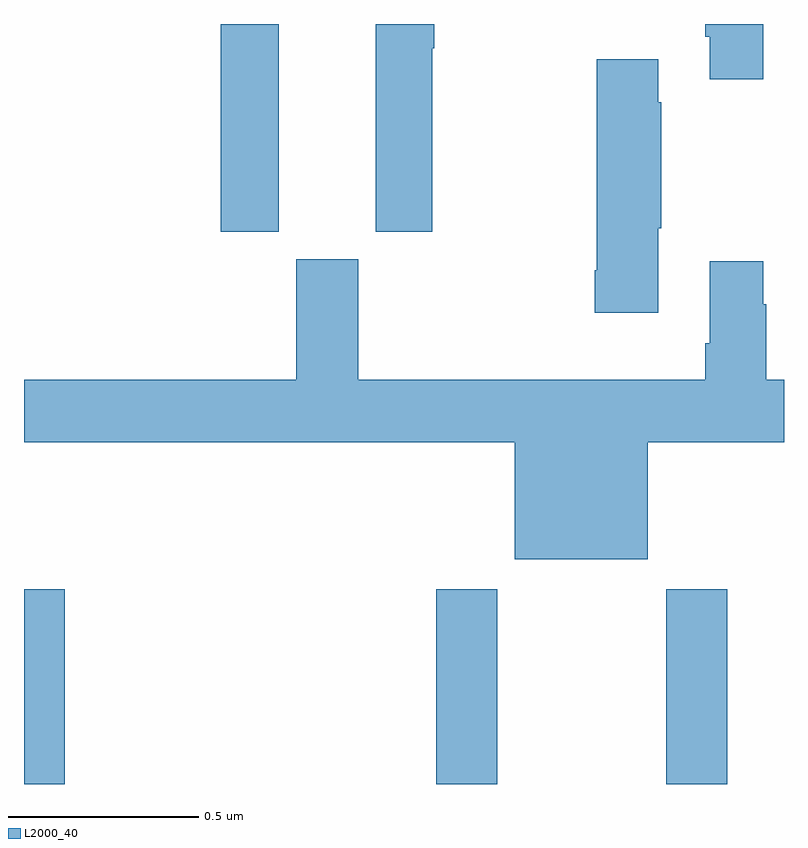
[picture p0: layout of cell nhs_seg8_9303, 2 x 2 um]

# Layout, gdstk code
import gdstk
lib = gdstk.Library(unit=1e-6, precision=1e-09)
def R(c, l, rs):  # rectangles x0, y0, x1, y1
    for r in rs: c.add(gdstk.rectangle(r[:2], r[2:], *l))
def P(c, l, *ps):  # polygons
    for p in ps: c.add(gdstk.Polygon(p, *l))
L2000_40 = (2000, 40)

nhs_seg8_9303 = lib.new_cell('nhs_seg8_9303')
R(nhs_seg8_9303, L2000_40, [(234,1148.9,234.107,1149.412), (235.085,1148.9,235.245,1149.412), (235.69,1148.9,235.85,1149.412), (234.518,1150.353,234.67,1150.9)])
P(nhs_seg8_9303, L2000_40, [(235.074,1150.836),(235.079,1150.836),(235.079,1150.9),(234.926,1150.9),(234.926,1150.353),(235.074,1150.353)],
  [(235.945,1150.9),(235.793,1150.9),(235.793,1150.867),(235.805,1150.867),(235.805,1150.755),(235.945,1150.755)],
  [(235.669,1150.363),(235.677,1150.363),(235.677,1150.694),(235.669,1150.694),(235.669,1150.807),(235.507,1150.807),(235.507,1150.252),(235.502,1150.252),(235.502,1150.14),(235.669,1150.14)],
  [(235.642,1149.8),(236,1149.8),(236,1149.964),(235.953,1149.964),(235.953,1150.163),(235.945,1150.163),(235.945,1150.276),(235.805,1150.276),(235.805,1150.06),(235.793,1150.06),(235.793,1149.964),(234.88,1149.964),(234.88,1150.281),(234.716,1150.281),(234.716,1149.964),(234,1149.964),(234,1149.8),(235.292,1149.8),(235.292,1149.491),(235.642,1149.491)])

lib.write_gds('nhs_seg8_9303.gds')
